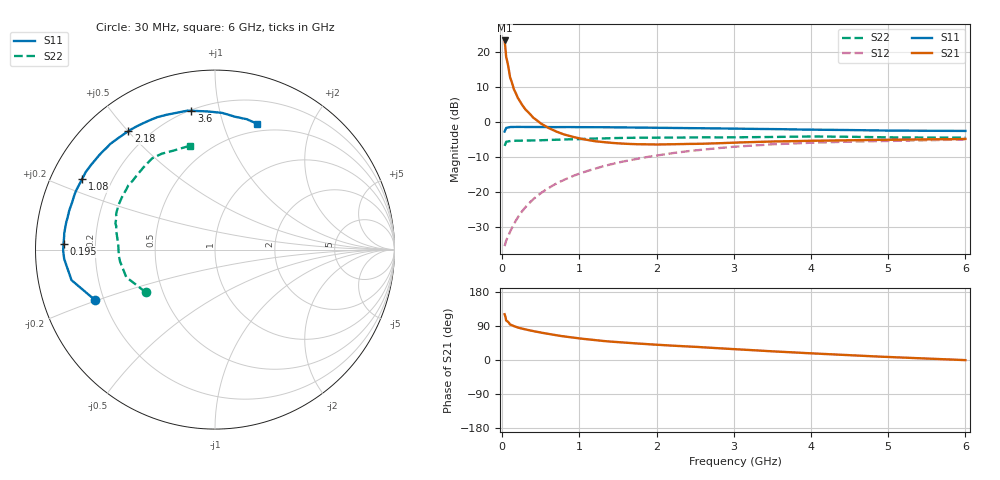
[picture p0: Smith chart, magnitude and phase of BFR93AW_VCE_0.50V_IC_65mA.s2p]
! Infineon Technologies  Discrete & RF Semiconductors
! BFR93AW
! VCE = 0.50 V,  IC =  65 mA
! Common Emitter S-Parameters:  Nov 2015
# GHz  S  MA  R  50
!  f  S11  S21  S12  S22
! GHz  MAG  ANG  MAG  ANG  MAG  ANG  MAG  ANG
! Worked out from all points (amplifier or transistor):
!   206 points, 30 MHz to 6 GHz, reference 50 ohm
!   highest |S21| = 23.2 dB at 30 MHz (marker M1)
!   |S21| within 3 dB of that: start of sweep to 43.62 MHz
!   unconditionally stable (mu >= 1): start of sweep to 47.09 MHz; 53.04 MHz to end of sweep
!   at 200 MHz: K = 1.51, MAG = 12.9 dB, |S12| = -27.3 dB
!   at 1.56 GHz: K = 1.30, MAG = -0.7 dB, |S12| = -11.4 dB
!   at 6 GHz: K = 1.06, MAG = -1.4 dB, |S12| = -5.0 dB
!   S11 on the Smith chart (normalised r, x): 30 MHz: 0.16, -0.19; 195 MHz: 0.08, +0.02; 1.08 GHz: 0.09, +0.25; 2.18 GHz: 0.13, +0.50; 3.6 GHz: 0.20, +0.82; 6 GHz: 0.42, +1.30
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0.03  0.7266 -157.4  14.46 120.8  0.0168 42.6  0.453 -148.3
0.05  0.8175 -168.0  8.434 104.1  0.0201 40.9  0.5177 -162.7
0.1  0.8419 -176.5  4.341 93.7  0.0269 51.6  0.5329 -172.5
0.15  0.846 -179.6  2.912 89.3  0.0346 57.8  0.5369 -176.1
0.195  0.8446 177.9  2.279 86.2  0.0422 61.8  0.5371 -178.2
0.2  0.8446 177.6  2.209 85.7  0.043 62.2  0.5372 -178.4
0.24  0.8436 175.8  1.865 83.6  0.05 64.9  0.5379 -179.7
0.3  0.845 173.8  1.498 80.5  0.0604 67.1  0.5384 178.8
0.4  0.8434 170.4  1.147 76.2  0.0783 68.8  0.5406 176.3
0.48  0.8409 168.1  0.984 73.1  0.0924 69.0  0.5441 174.9
0.6  0.8408 165.0  0.815 68.8  0.1135 68.7  0.5484 172.9
0.7  0.8384 161.8  0.725 65.1  0.1314 68.0  0.5532 171.2
1.04  0.8382 152.9  0.567 56.0  0.1888 64.0  0.569 166.0
1.08  0.8385 152.0  0.556 55.2  0.195 63.4  0.5722 165.5
1.44  0.834 143.1  0.498 48.0  0.2521 58.1  0.5853 160.1
2.02  0.8209 129.7  0.474 40.1  0.3329 49.1  0.5946 151.9
2.18  0.8181 126.2  0.478 38.1  0.3539 46.6  0.596 149.2
3.1  0.795 108.1  0.508 27.5  0.447 33.0  0.6007 136.5
3.6  0.7845 99.7  0.525 21.8  0.4816 26.0  0.6082 129.9
4.1  0.7691 92.2  0.537 16.6  0.5055 19.7  0.6156 123.5
5.1  0.7479 80.4  0.556 7.1  0.5346 9.5  0.5982 112.8
6  0.7399 71.7  0.569 -0.3  0.5593 1.9  0.5953 103.8
